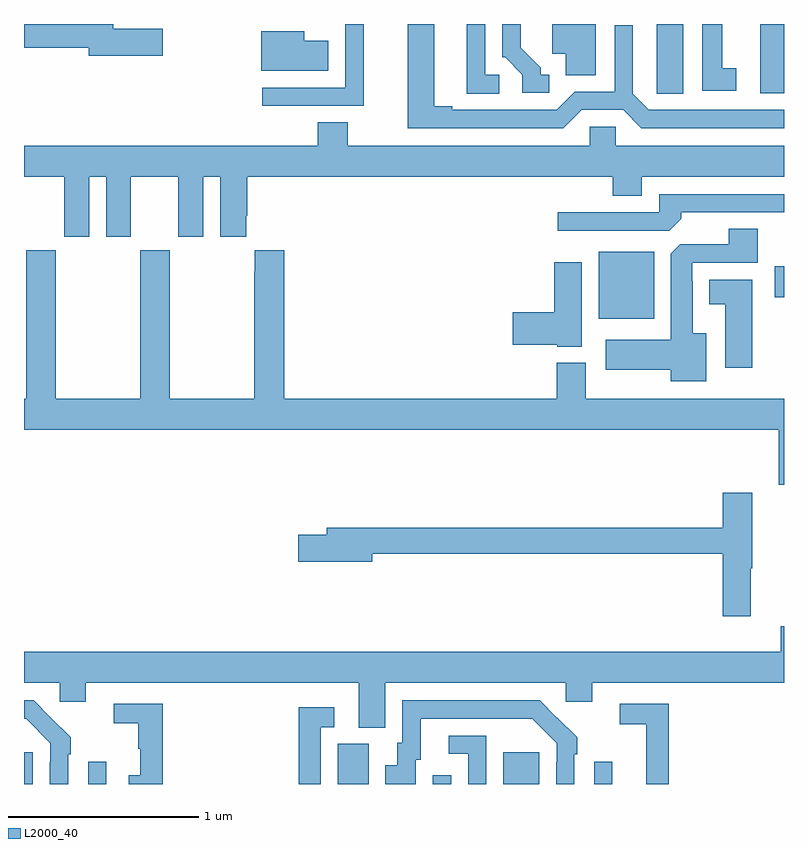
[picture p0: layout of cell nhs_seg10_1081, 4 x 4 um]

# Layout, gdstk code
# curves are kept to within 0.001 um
import gdstk
lib = gdstk.Library(unit=1e-6, precision=1e-09)
def R(c, l, rs):  # rectangles x0, y0, x1, y1
    for r in rs: c.add(gdstk.rectangle(r[:2], r[2:], *l))
def P(c, l, *ps):  # polygons
    for p in ps: c.add(gdstk.Polygon(p, *l))
L2000_40 = (2000, 40)

nhs_seg10_1081 = lib.new_cell('nhs_seg10_1081')
R(nhs_seg10_1081, L2000_40, [(167,1250.5,167.047,1250.668), (167.337,1250.5,167.433,1250.617), (168.65,1250.5,168.814,1250.712), (169.152,1250.5,169.248,1250.545), (169.523,1250.5,169.711,1250.668), (170.001,1250.5,170.097,1250.617), (170.024,1252.949,170.317,1253.302), (170.952,1253.062,171,1253.224), (170.876,1254.135,171,1254.5)])
P(nhs_seg10_1081, L2000_40, [(170.47,1254.5),(170.33,1254.5),(170.33,1254.241),(170.331,1254.241),(170.331,1254.133),(170.47,1254.133)],
  [(170.749,1254.266),(170.674,1254.266),(170.674,1254.5),(170.57,1254.5),(170.57,1254.15),(170.749,1254.15)],
  [(169.765,1254.234),(169.72,1254.234),(169.72,1254.269),(169.615,1254.374),(169.615,1254.5),(169.518,1254.5),(169.518,1254.324),(169.533,1254.324),(169.623,1254.234),(169.623,1254.138),(169.765,1254.138)],
  [(169.501,1254.234),(169.428,1254.234),(169.428,1254.5),(169.331,1254.5),(169.331,1254.133),(169.501,1254.133)],
  [(168.789,1254.5),(168.69,1254.5),(168.69,1254.165),(168.255,1254.165),(168.255,1254.069),(168.789,1254.069)],
  [(169.935,1254.048),(170.153,1254.048),(170.249,1253.952),(171,1253.952),(171,1254.048),(170.289,1254.048),(170.205,1254.132),(170.205,1254.493),(170.109,1254.493),(170.109,1254.144),(169.899,1254.144),(169.803,1254.048),(169.255,1254.048),(169.255,1254.068),(169.159,1254.068),(169.159,1254.5),(169.019,1254.5),(169.019,1253.952),(169.839,1253.952)],
  [(167.731,1254.476),(167.47,1254.476),(167.47,1254.5),(167,1254.5),(167,1254.376),(167.342,1254.376),(167.342,1254.334),(167.731,1254.334)],
  [(170.008,1254.5),(169.781,1254.5),(169.781,1254.344),(169.85,1254.344),(169.85,1254.229),(170.008,1254.229)],
  [(168.601,1254.412),(168.475,1254.412),(168.475,1254.463),(168.248,1254.463),(168.248,1254.254),(168.601,1254.254)],
  [(167.344,1253.696),(167.432,1253.696),(167.432,1253.379),(167.563,1253.379),(167.563,1253.696),(167.813,1253.696),(167.813,1253.379),(167.944,1253.379),(167.944,1253.696),(168.032,1253.696),(168.032,1253.379),(168.169,1253.379),(168.169,1253.491),(168.176,1253.491),(168.176,1253.696),(170.099,1253.696),(170.099,1253.597),(170.251,1253.597),(170.251,1253.696),(171,1253.696),(171,1253.86),(170.115,1253.86),(170.115,1253.958),(169.977,1253.958),(169.977,1253.86),(168.705,1253.86),(168.705,1253.984),(168.545,1253.984),(168.545,1253.86),(167,1253.86),(167,1253.696),(167.213,1253.696),(167.213,1253.379),(167.344,1253.379)],
  [(170.459,1253.474),(170.459,1253.508),(171,1253.508),(171,1253.604),(170.343,1253.604),(170.343,1253.508),(169.809,1253.508),(169.809,1253.412),(170.397,1253.412)],
  [(170.59,1252.873),(170.521,1252.873),(170.521,1253.147),(170.517,1253.147),(170.517,1253.244),(170.861,1253.244),(170.861,1253.423),(170.708,1253.423),(170.708,1253.34),(170.454,1253.34),(170.405,1253.291),(170.405,1252.837),(170.061,1252.837),(170.061,1252.679),(170.405,1252.679),(170.405,1252.619),(170.59,1252.619)],
  [(171,1252.528),(169.957,1252.528),(169.957,1252.717),(169.805,1252.717),(169.805,1252.528),(168.371,1252.528),(168.371,1253.308),(168.215,1253.308),(168.215,1253.195),(168.211,1253.195),(168.211,1252.528),(167.766,1252.528),(167.766,1253.308),(167.611,1253.308),(167.611,1252.528),(167.166,1252.528),(167.166,1253.308),(167.011,1253.308),(167.011,1252.528),(167,1252.528),(167,1252.364),(170.972,1252.364),(170.972,1252.074),(171,1252.074)],
  [(169.936,1253.245),(169.79,1253.245),(169.79,1252.982),(169.572,1252.982),(169.572,1252.811),(169.806,1252.811),(169.806,1252.802),(169.936,1252.802)],
  [(170.833,1253.155),(170.606,1253.155),(170.606,1253.024),(170.69,1253.024),(170.69,1252.692),(170.833,1252.692)],
  [(170.824,1251.635),(170.832,1251.635),(170.832,1252.033),(170.678,1252.033),(170.678,1251.848),(168.593,1251.848),(168.593,1251.812),(168.444,1251.812),(168.444,1251.67),(168.832,1251.67),(168.832,1251.712),(170.678,1251.712),(170.678,1251.384),(170.824,1251.384)],
  [(168.901,1251.032),(169.851,1251.032),(169.851,1250.934),(169.99,1250.934),(169.99,1251.032),(171,1251.032),(171,1251.33),(170.983,1251.33),(170.983,1251.196),(167,1251.196),(167,1251.032),(167.187,1251.032),(167.187,1250.934),(167.326,1250.934),(167.326,1251.032),(168.761,1251.032),(168.761,1250.797),(168.901,1250.797)],
  [(167.232,1250.657),(167.247,1250.657),(167.247,1250.745),(167.05,1250.94),(167,1250.94),(167,1250.844),(167.011,1250.844),(167.139,1250.715),(167.139,1250.615),(167.136,1250.615),(167.136,1250.5),(167.232,1250.5)],
  [(169.063,1250.628),(169.087,1250.628),(169.087,1250.844),(169.675,1250.844),(169.803,1250.715),(169.803,1250.615),(169.8,1250.615),(169.8,1250.5),(169.896,1250.5),(169.896,1250.657),(169.911,1250.657),(169.911,1250.745),(169.714,1250.94),(168.99,1250.94),(168.99,1250.718),(168.965,1250.718),(168.965,1250.599),(168.902,1250.599),(168.902,1250.5),(169.063,1250.5)],
  [(167.729,1250.922),(167.472,1250.922),(167.472,1250.821),(167.601,1250.821),(167.601,1250.685),(167.612,1250.685),(167.612,1250.545),(167.552,1250.545),(167.552,1250.5),(167.729,1250.5)],
  [(170.393,1250.922),(170.136,1250.922),(170.136,1250.814),(170.276,1250.814),(170.276,1250.5),(170.393,1250.5)],
  [(168.561,1250.799),(168.634,1250.799),(168.634,1250.905),(168.445,1250.905),(168.445,1250.5),(168.561,1250.5)],
  [(169.434,1250.754),(169.236,1250.754),(169.236,1250.658),(169.338,1250.658),(169.338,1250.5),(169.434,1250.5)])

lib.write_gds('nhs_seg10_1081.gds')
